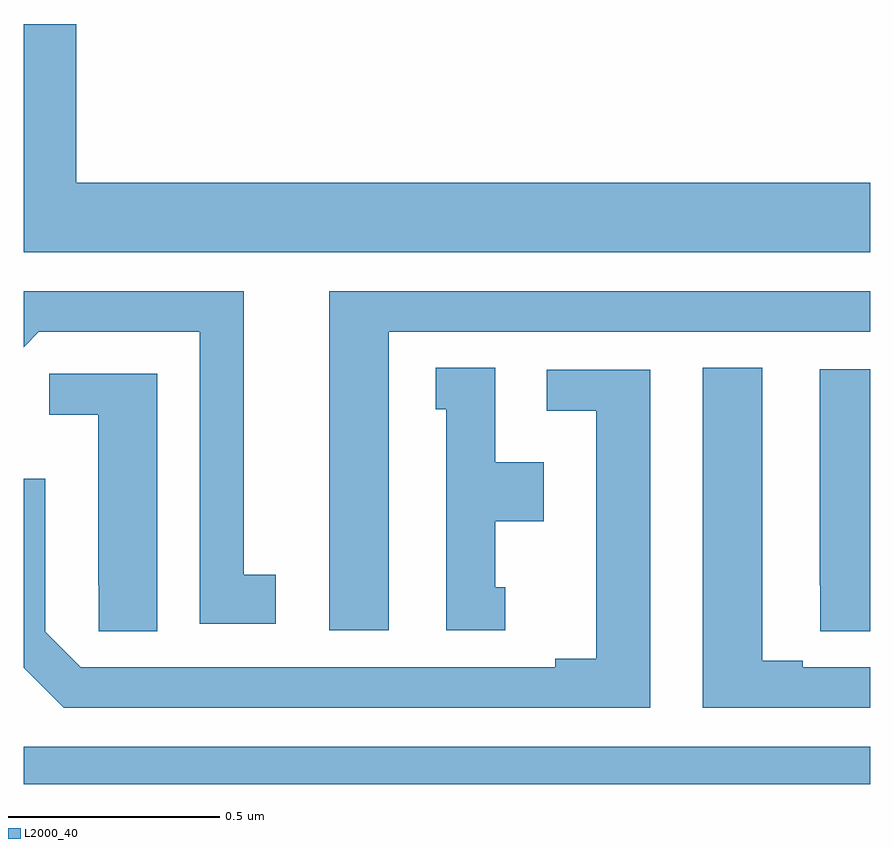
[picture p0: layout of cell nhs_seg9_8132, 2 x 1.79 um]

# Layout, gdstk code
import gdstk
lib = gdstk.Library(unit=1e-6, precision=1e-09)
def R(c, l, rs):  # rectangles x0, y0, x1, y1
    for r in rs: c.add(gdstk.rectangle(r[:2], r[2:], *l))
def P(c, l, *ps):  # polygons
    for p in ps: c.add(gdstk.Polygon(p, *l))
L2000_40 = (2000, 40)

nhs_seg9_8132 = lib.new_cell('nhs_seg9_8132')
R(nhs_seg9_8132, L2000_40, [(213,1192.5,215,1192.588)])
P(nhs_seg9_8132, L2000_40, [(215,1193.92),(213.124,1193.92),(213.124,1194.295),(213,1194.295),(213,1193.756),(215,1193.756)],
  [(213.595,1192.994),(213.52,1192.994),(213.52,1193.664),(213,1193.664),(213,1193.532),(213.036,1193.568),(213.416,1193.568),(213.416,1192.878),(213.595,1192.878)],
  [(213.862,1193.568),(215,1193.568),(215,1193.664),(213.722,1193.664),(213.722,1192.863),(213.862,1192.863)],
  [(214.138,1192.965),(214.114,1192.965),(214.114,1193.12),(214.228,1193.12),(214.228,1193.26),(214.114,1193.26),(214.114,1193.483),(213.974,1193.483),(213.974,1193.385),(213.998,1193.385),(213.998,1192.863),(214.138,1192.863)],
  [(215,1192.776),(214.84,1192.776),(214.84,1192.791),(214.744,1192.791),(214.744,1193.483),(214.604,1193.483),(214.604,1192.68),(215,1192.68)],
  [(215,1193.479),(214.88,1193.479),(214.88,1192.969),(214.881,1192.969),(214.881,1192.861),(215,1192.861)],
  [(214.48,1193.478),(214.236,1193.478),(214.236,1193.382),(214.352,1193.382),(214.352,1192.796),(214.256,1192.796),(214.256,1192.776),(213.135,1192.776),(213.051,1192.86),(213.051,1193.221),(213,1193.221),(213,1192.775),(213.095,1192.68),(214.48,1192.68)],
  [(213.316,1193.469),(213.06,1193.469),(213.06,1193.372),(213.176,1193.372),(213.176,1192.969),(213.177,1192.969),(213.177,1192.861),(213.316,1192.861)])

lib.write_gds('nhs_seg9_8132.gds')
